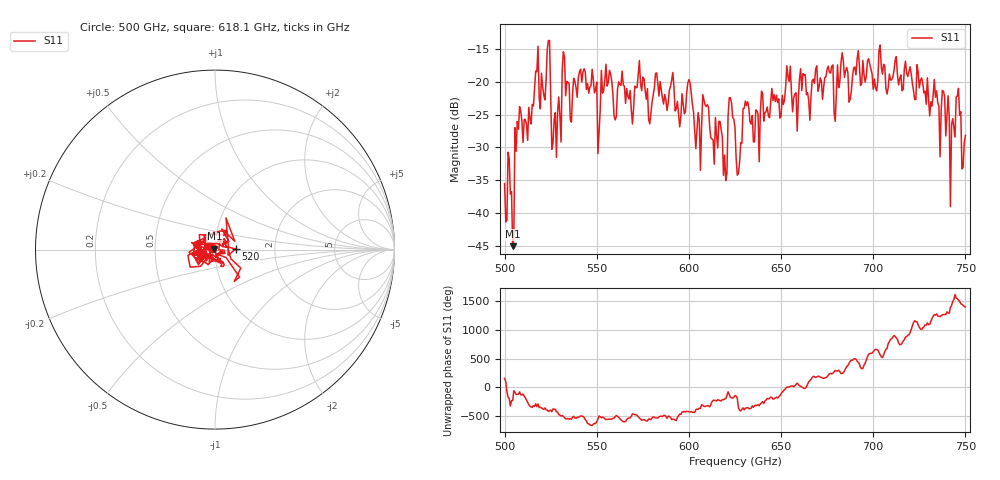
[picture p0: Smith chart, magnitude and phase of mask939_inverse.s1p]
!Created with skrf (http://scikit-rf.org).
# GHz S MA R 50.0
!freq magS11 angS11
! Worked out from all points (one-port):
!   401 points, 500 GHz to 750 GHz, reference 50 ohm
!   lowest |S11| = -45.0 dB at 504.4 GHz (marker M1), VSWR 1.01, Z = 49.6 + j0.427 ohm
!   |S11| at or under -10 dB: start of sweep to end of sweep
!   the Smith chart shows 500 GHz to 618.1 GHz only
!   S11 on the Smith chart (normalised r, x): 500 GHz: 0.97, +0.01; 520 GHz: 1.26, +0.01; 618.1 GHz: 0.94, +0.04
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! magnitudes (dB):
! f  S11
! 500 GHz  -35.5
! 504.4 GHz  -45.0
! 508.1 GHz  -23.8
! 520 GHz  -18.7
! 523.8 GHz  -13.7
! 526.9 GHz  -25.8
! 531.2 GHz  -18.2
! 542.5 GHz  -18.5
! 550.6 GHz  -30.9
! 562.5 GHz  -20.4
! 579.4 GHz  -24.7
! 590.6 GHz  -19.7
! 593.8 GHz  -23.0
! 600 GHz  -19.6
! 605 GHz  -24.7
! 608.8 GHz  -23.5
! 618.1 GHz  -28.3
! 620 GHz  -35.0
! 622.5 GHz  -22.4
! 625 GHz  -27.0
! 627.5 GHz  -32.2
! 630.6 GHz  -22.9
! 656.2 GHz  -24.6
! 687.5 GHz  -22.6
! 718.8 GHz  -19.2
! 743.1 GHz  -25.6
! 746.2 GHz  -21.0
! 750 GHz  -28.2
